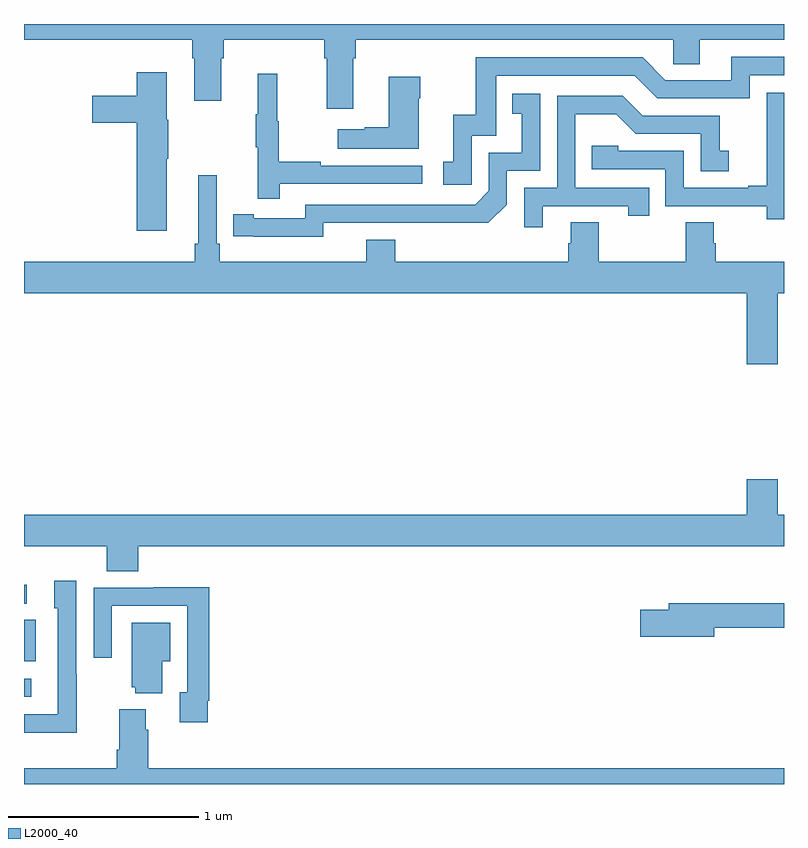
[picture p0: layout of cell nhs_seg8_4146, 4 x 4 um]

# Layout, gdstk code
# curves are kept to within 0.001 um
import gdstk
lib = gdstk.Library(unit=1e-6, precision=1e-09)
def R(c, l, rs):  # rectangles x0, y0, x1, y1
    for r in rs: c.add(gdstk.rectangle(r[:2], r[2:], *l))
def P(c, l, *ps):  # polygons
    for p in ps: c.add(gdstk.Polygon(p, *l))
L2000_40 = (2000, 40)

nhs_seg8_4146 = lib.new_cell('nhs_seg8_4146')
R(nhs_seg8_4146, L2000_40, [(365,1130.358,365.038,1130.454), (365,1130.546,365.062,1130.765), (365,1130.85,365.014,1130.948)])
P(nhs_seg8_4146, L2000_40, [(366.733,1133.72),(366.746,1133.72),(366.746,1133.816),(368.418,1133.816),(368.418,1133.689),(368.557,1133.689),(368.557,1133.816),(369,1133.816),(369,1133.9),(365,1133.9),(365,1133.816),(365.885,1133.816),(365.885,1133.72),(365.897,1133.72),(365.897,1133.496),(366.037,1133.496),(366.037,1133.72),(366.05,1133.72),(366.05,1133.816),(366.581,1133.816),(366.581,1133.72),(366.593,1133.72),(366.593,1133.454),(366.733,1133.454)],
  [(367.356,1133.313),(367.485,1133.313),(367.485,1133.628),(368.214,1133.628),(368.334,1133.508),(368.82,1133.508),(368.82,1133.631),(369,1133.631),(369,1133.727),(368.723,1133.727),(368.723,1133.604),(368.376,1133.604),(368.256,1133.724),(367.377,1133.724),(367.377,1133.422),(367.259,1133.422),(367.259,1133.175),(367.206,1133.175),(367.206,1133.055),(367.356,1133.055)],
  [(365.752,1133.191),(365.76,1133.191),(365.76,1133.397),(365.752,1133.397),(365.752,1133.647),(365.594,1133.647),(365.594,1133.523),(365.358,1133.523),(365.358,1133.381),(365.594,1133.381),(365.594,1132.812),(365.752,1132.812)],
  [(366.347,1133.058),(367.096,1133.058),(367.096,1133.154),(366.563,1133.154),(366.563,1133.174),(366.34,1133.174),(366.34,1133.388),(366.332,1133.388),(366.332,1133.638),(366.23,1133.638),(366.23,1133.425),(366.219,1133.425),(366.219,1133.251),(366.23,1133.251),(366.23,1132.98),(366.347,1132.98)],
  [(367.078,1133.51),(367.086,1133.51),(367.086,1133.623),(366.92,1133.623),(366.92,1133.357),(366.794,1133.357),(366.794,1133.347),(366.651,1133.347),(366.651,1133.243),(367.078,1133.243)],
  [(369,1133.539),(368.908,1133.539),(368.908,1133.333),(368.909,1133.333),(368.909,1133.05),(368.813,1133.05),(368.813,1133.037),(368.472,1133.037),(368.472,1133.232),(368.127,1133.232),(368.127,1133.259),(367.987,1133.259),(367.987,1133.136),(368.376,1133.136),(368.376,1132.941),(368.91,1132.941),(368.91,1132.873),(369,1132.873)],
  [(366.576,1132.854),(367.444,1132.853),(367.542,1132.95),(367.542,1133.127),(367.716,1133.127),(367.716,1133.533),(367.57,1133.533),(367.57,1133.427),(367.619,1133.427),(367.619,1133.223),(367.446,1133.223),(367.446,1133.022),(367.374,1132.95),(366.48,1132.95),(366.48,1132.878),(366.208,1132.878),(366.208,1132.898),(366.1,1132.898),(366.1,1132.782),(366.576,1132.781)],
  [(367.729,1132.941),(368.18,1132.941),(368.18,1132.89),(368.291,1132.89),(368.291,1133.037),(367.902,1133.037),(367.902,1133.426),(368.116,1133.426),(368.22,1133.322),(368.562,1133.322),(368.562,1133.124),(368.71,1133.124),(368.71,1133.233),(368.661,1133.233),(368.661,1133.418),(368.257,1133.418),(368.152,1133.523),(367.806,1133.523),(367.806,1133.037),(367.632,1133.037),(367.632,1132.83),(367.729,1132.83)],
  [(368.968,1132.484),(369,1132.484),(369,1132.648),(368.642,1132.648),(368.642,1132.746),(368.629,1132.746),(368.629,1132.856),(368.482,1132.856),(368.482,1132.648),(368.025,1132.648),(368.025,1132.856),(367.877,1132.856),(367.877,1132.746),(367.865,1132.746),(367.865,1132.648),(366.953,1132.648),(366.953,1132.765),(366.8,1132.765),(366.8,1132.648),(366.029,1132.648),(366.029,1132.744),(366.015,1132.744),(366.015,1133.104),(365.918,1133.104),(365.918,1132.744),(365.899,1132.744),(365.899,1132.648),(365,1132.648),(365,1132.484),(368.804,1132.484),(368.804,1132.11),(368.968,1132.11)],
  [(365.6,1131.152),(369,1131.152),(369,1131.316),(368.968,1131.316),(368.968,1131.505),(368.804,1131.505),(368.804,1131.316),(365,1131.316),(365,1131.152),(365.435,1131.152),(365.435,1131.019),(365.6,1131.019)],
  [(365.277,1130.477),(365.274,1130.477),(365.274,1130.971),(365.159,1130.971),(365.159,1130.826),(365.178,1130.826),(365.178,1130.268),(365,1130.268),(365,1130.171),(365.277,1130.171)],
  [(365.968,1130.338),(365.975,1130.338),(365.975,1130.936),(365.683,1130.936),(365.683,1130.934),(365.367,1130.934),(365.367,1130.565),(365.463,1130.565),(365.463,1130.838),(365.859,1130.838),(365.859,1130.382),(365.819,1130.382),(365.819,1130.226),(365.968,1130.226)],
  [(368.632,1130.722),(369,1130.722),(369,1130.851),(368.393,1130.851),(368.393,1130.817),(368.244,1130.817),(368.244,1130.675),(368.632,1130.675)],
  [(365.728,1130.546),(365.77,1130.546),(365.77,1130.749),(365.567,1130.749),(365.567,1130.409),(365.585,1130.409),(365.585,1130.378),(365.728,1130.378)],
  [(369,1129.984),(365.654,1129.984),(365.654,1130.186),(365.641,1130.186),(365.641,1130.293),(365.501,1130.293),(365.501,1130.08),(365.489,1130.08),(365.489,1129.984),(365,1129.984),(365,1129.9),(369,1129.9)])

lib.write_gds('nhs_seg8_4146.gds')
